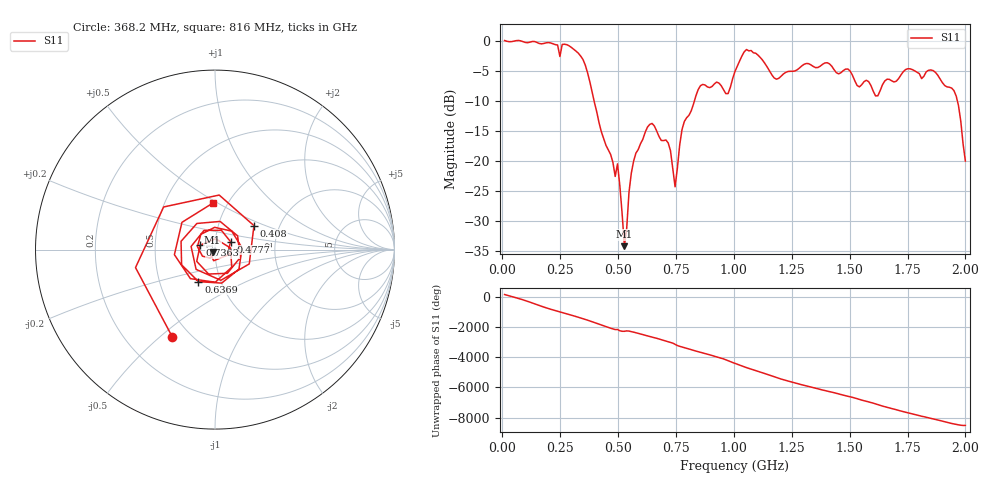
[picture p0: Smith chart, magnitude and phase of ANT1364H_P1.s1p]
!Created with skrf (http://scikit-rf.org).
# Hz S RI R 50.0
!freq ReS11 ImS11
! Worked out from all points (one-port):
!   201 points, 10 MHz to 2 GHz, reference 50 ohm
!   lowest |S11| = -34.2 dB at 527.4 MHz (marker M1), VSWR 1.04, Z = 48.7 - j1.38 ohm
!   |S11| at or under -10 dB: 396.2 MHz to 830 MHz (433.8 MHz wide, 70.8 % of centre); 1.965 GHz to end of sweep
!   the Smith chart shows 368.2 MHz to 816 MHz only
!   S11 on the Smith chart (normalised r, x): 368.2 MHz: 0.40, -0.55; 408 MHz: 1.48, +0.42; 477.6 MHz: 1.18, +0.11; 636.9 MHz: 0.78, -0.29; 736.4 MHz: 0.85, +0.04; 816 MHz: 0.86, +0.48
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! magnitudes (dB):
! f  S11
! 10 MHz  0.0
! 258.8 MHz  -0.6
! 368.2 MHz  -5.3
! 408 MHz  -11.9
! 477.6 MHz  -20.2
! 487.6 MHz  -22.6
! 497.6 MHz  -20.5
! 507.5 MHz  -24.1
! 527.4 MHz  -34.2
! 567.2 MHz  -20.1
! 636.9 MHz  -13.9
! 716.5 MHz  -17.0
! 736.4 MHz  -21.3
! 746.3 MHz  -24.3
! 756.2 MHz  -21.2
! 776.1 MHz  -14.8
! 816 MHz  -11.7
! 855.8 MHz  -7.5
! 975.1 MHz  -8.8
! 1.005 GHz  -5.1
! 1.055 GHz  -1.5
! 1.184 GHz  -6.4
! 1.254 GHz  -5.1
! 1.502 GHz  -5.1
! 1.612 GHz  -9.2
! 1.751 GHz  -4.7
! 1.95 GHz  -8.3
! 2 GHz  -20.0
